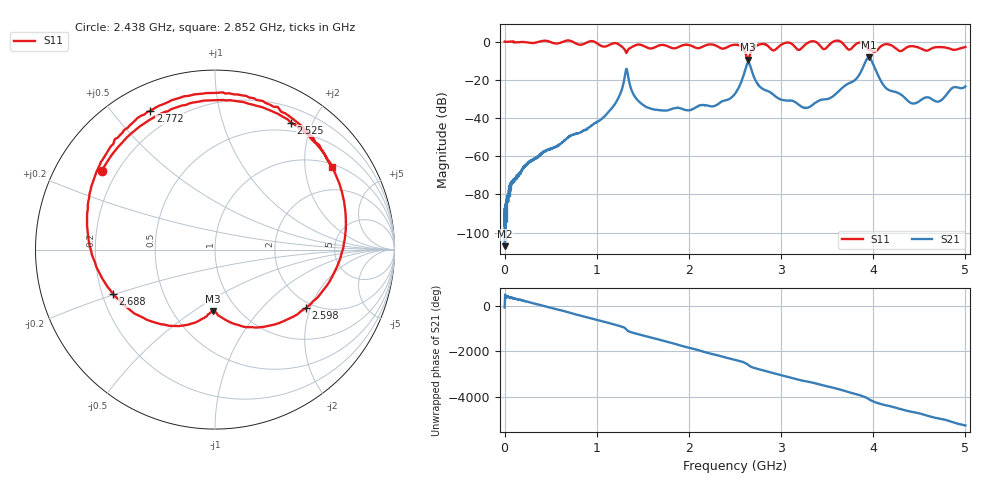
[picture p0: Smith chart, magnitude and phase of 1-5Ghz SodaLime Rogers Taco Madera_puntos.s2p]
! NanoVNA-App
! Date: 2025-10-30 21:05:56
! Start: 10kHz Stop: 5GHz Points: 3201
! S-Parameter data: F S11 S21 S12 S22
# Hz S RI R 50
!  Frequency  S11_Real  S11_Imag  S21_Real  S21_Imag  S12_Real  S12_Imag  S22_Real  S22_Imag
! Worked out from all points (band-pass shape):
!   3201 points, 10 kHz to 5 GHz, reference 50 ohm
!   highest |S21| = -8.09 dB at 3.952 GHz (marker M1); lowest = -107.1 dB at 10 kHz (marker M2)
!   |S21| within 3 dB of the highest: 2.637 GHz to 2.651 GHz (13.53 MHz wide, 0.512 % of centre); 3.91 GHz to 3.993 GHz (82.63 MHz wide, 2.09 % of centre)
!   lowest |S11| = -9.3 dB at 2.641 GHz (marker M3), VSWR 2.04, Z = 38.7 - j30 ohm
!   |S11| at or under -10 dB: nowhere
!   S12 and S22 are empty: the file has one direction only
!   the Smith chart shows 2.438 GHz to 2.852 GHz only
!   S11 on the Smith chart (normalised r, x): 2.438 GHz: 0.14, +0.31; 2.525 GHz: 0.39, +1.70; 2.598 GHz: 1.82, -1.86; 2.688 GHz: 0.24, -0.20; 2.772 GHz: 0.11, +0.63; 2.852 GHz: 1.09, +2.75
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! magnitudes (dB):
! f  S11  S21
! 10 kHz  0.0  -107.1
! 264.1 MHz  -0.6  -63.0
! 834.4 MHz  -1.5  -47.3
! 1.178 GHz  -0.8  -33.9
! 1.322 GHz  -5.8  -14.2
! 1.441 GHz  -1.5  -30.5
! 1.667 GHz  -2.1  -35.7
! 2.438 GHz  -2.3  -30.0
! 2.5 GHz  -1.6  -27.3
! 2.525 GHz  -1.7  -25.5
! 2.598 GHz  -4.4  -16.7
! 2.641 GHz  -9.3  -10.9
! 2.688 GHz  -4.1  -16.0
! 2.772 GHz  -1.4  -23.7
! 2.852 GHz  -2.0  -25.7
! 3.194 GHz  -4.3  -33.0
! 3.334 GHz  0.2  -33.3
! 3.8 GHz  -1.7  -20.1
! 3.952 GHz  -4.2  -8.1
! 4.167 GHz  -1.4  -25.3
! 4.439 GHz  -2.4  -32.4
! 5 GHz  -2.8  -23.4
